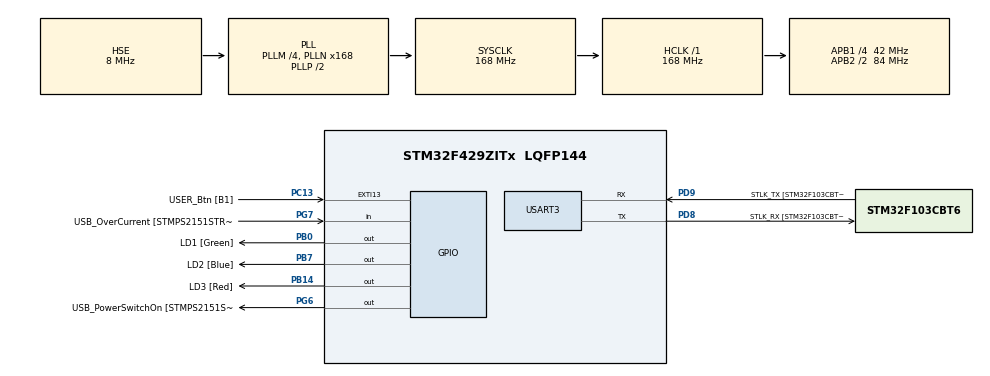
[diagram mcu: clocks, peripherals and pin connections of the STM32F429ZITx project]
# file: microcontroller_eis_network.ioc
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ARM.CMSIS.5.7.0.CMSISJjCORE=true
ARM.CMSIS.5.7.0.CMSISJjDSP=Library
Mcu.Family=STM32F4
Mcu.Name=STM32F429ZITx
Mcu.Package=LQFP144
NVIC.PriorityGroup=NVIC_PRIORITYGROUP_4
PA13.GPIO_Label=TMS
PA13.Mode=Serial_Wire
PA13.Signal=SYS_JTMS-SWDIO
PA14.GPIO_Label=TCK
PA14.Mode=Serial_Wire
PA14.Signal=SYS_JTCK-SWCLK
PB0.GPIO_Label=LD1 [Green]
PB0.Signal=GPIO_Output
PB14.GPIO_Label=LD3 [Red]
PB14.Signal=GPIO_Output
PB7.GPIO_Label=LD2 [Blue]
PB7.Signal=GPIO_Output
PC13.GPIO_Label=USER_Btn [B1]
PC13.Signal=GPXTI13
PC14/OSC32_IN.Mode=LSE-External-Oscillator
PC14/OSC32_IN.Signal=RCC_OSC32_IN
PC15/OSC32_OUT.Mode=LSE-External-Oscillator
PC15/OSC32_OUT.Signal=RCC_OSC32_OUT
PD8.GPIO_Label=STLK_RX [STM32F103CBT6_PA3]
PD8.Mode=Asynchronous
PD8.Signal=USART3_TX
PD9.GPIO_Label=STLK_TX [STM32F103CBT6_PA2]
PD9.Mode=Asynchronous
PD9.Signal=USART3_RX
PG6.GPIO_Label=USB_PowerSwitchOn [STMPS2151STR_EN]
PG6.Signal=GPIO_Output
PG7.GPIO_Label=USB_OverCurrent [STMPS2151STR_FAULT]
PG7.Signal=GPIO_Input
PH0/OSC_IN.GPIO_Label=MCO [STM32F103CBT6_PA8]
PH0/OSC_IN.Mode=HSE-External-Clock-Source
PH0/OSC_IN.Signal=RCC_OSC_IN
PH1/OSC_OUT.Mode=HSE-External-Clock-Source
PH1/OSC_OUT.Signal=RCC_OSC_OUT
ProjectManager.HeapSize=0x800
ProjectManager.StackSize=0x800
ProjectManager.TargetToolchain=STM32CubeIDE
RCC.48MHZClocksFreq_Value=48000000
RCC.AHBFreq_Value=168000000
RCC.APB1CLKDivider=RCC_HCLK_DIV4
RCC.APB1Freq_Value=42000000
RCC.APB1TimFreq_Value=84000000
RCC.APB2CLKDivider=RCC_HCLK_DIV2
RCC.APB2Freq_Value=84000000
RCC.APB2TimCLKDivider=2
RCC.APB2TimFreq_Value=168000000
RCC.CortexFreq_Value=168000000
RCC.HCLKFreq_Value=168000000
RCC.HSE_VALUE=8000000
RCC.HSI_VALUE=16000000
RCC.PLLM=4
RCC.PLLMUL=RCC_PLL_MUL9
RCC.PLLN=168
RCC.PLLQ=7
RCC.PLLSourceVirtual=RCC_PLLSOURCE_HSE
RCC.PRESCALERUSB=RCC_USBCLKSOURCE_PLL_DIV1_5
RCC.SYSCLKFreq_VALUE=168000000
RCC.SYSCLKSource=RCC_SYSCLKSOURCE_PLLCLK
RCC.SYSCLKSourceVirtual=RCC_SYSCLKSOURCE_PLLCLK
RCC.USBFreq_Value=48000000
RCC.VCOOutputFreq_Value=336000000
STMicroelectronics.X-CUBE-AI.9.1.0.ActivationBufferSizeList=828
STMicroelectronics.X-CUBE-AI.9.1.0.ActivationBuffers=pool0
STMicroelectronics.X-CUBE-AI.9.1.0.ActivationNames=pool0
STMicroelectronics.X-CUBE-AI.9.1.0.ActivationSizes=AI_EIS_NETWORK_DATA_ACTIVATION_1_SIZE
STMicroelectronics.X-CUBE-AI.9.1.0.HeapSize=0x800
STMicroelectronics.X-CUBE-AI.9.1.0.InternalRamActivationBufferMaxSize=AI_EIS_NETWORK_DATA_ACTIVATIONS_SIZE
STMicroelectronics.X-CUBE-AI.9.1.0.LatestDirectoryUsed-512c36edfd40d9900958168d216ff8be3b197be218ea1a5f6a13ae413ad8ec18=C\:\\Data\\Git\\eis_data_analytics_dev_release\\microcontroller_eis_network\\onnx_export
STMicroelectronics.X-CUBE-AI.9.1.0.MaximumNumberOfInputLayer=1
STMicroelectronics.X-CUBE-AI.9.1.0.MaximumNumberOfOutputLayer=1
STMicroelectronics.X-CUBE-AI.9.1.0.MaximumSizeOfInputLayer=1
STMicroelectronics.X-CUBE-AI.9.1.0.MaximumSizeOfOutputLayer=1
STMicroelectronics.X-CUBE-AI.9.1.0.ModelActualCompression-512c36edfd40d9900958168d216ff8be3b197be218ea1a5f6a13ae413ad8ec18=0.0
STMicroelectronics.X-CUBE-AI.9.1.0.ModelCompression-512c36edfd40d9900958168d216ff8be3b197be218ea1a5f6a13ae413ad8ec18=None
STMicroelectronics.X-CUBE-AI.9.1.0.ModelFlashOccupation-512c36edfd40d9900958168d216ff8be3b197be218ea1a5f6a13ae413ad8ec18=7094
STMicroelectronics.X-CUBE-AI.9.1.0.ModelHashList=512c36edfd40d9900958168d216ff8be3b197be218ea1a5f6a13ae413ad8ec18
STMicroelectronics.X-CUBE-AI.9.1.0.ModelKind-512c36edfd40d9900958168d216ff8be3b197be218ea1a5f6a13ae413ad8ec18=ONNX
STMicroelectronics.X-CUBE-AI.9.1.0.ModelMacc-512c36edfd40d9900958168d216ff8be3b197be218ea1a5f6a13ae413ad8ec18=2
STMicroelectronics.X-CUBE-AI.9.1.0.ModelName-512c36edfd40d9900958168d216ff8be3b197be218ea1a5f6a13ae413ad8ec18=eis_network
STMicroelectronics.X-CUBE-AI.9.1.0.ModelNameList=eis_network
STMicroelectronics.X-CUBE-AI.9.1.0.ModelRamOccupation-512c36edfd40d9900958168d216ff8be3b197be218ea1a5f6a13ae413ad8ec18=828
STMicroelectronics.X-CUBE-AI.9.1.0.ModelStructureFile-512c36edfd40d9900958168d216ff8be3b197be218ea1a5f6a13ae413ad8ec18=onnx_export/example_data_SISO_Linear_Z_abs_100hz_Temperature_940757438541927485_33edb75dde754d34aa05820499c475de.onnx
STMicroelectronics.X-CUBE-AI.9.1.0.ModelType-512c36edfd40d9900958168d216ff8be3b197be218ea1a5f6a13ae413ad8ec18=STM32Cube.AI MCU runtime
STMicroelectronics.X-CUBE-AI.9.1.0.ReadyForCodeGeneration=true
STMicroelectronics.X-CUBE-AI.9.1.0.StackSize=0x800
STMicroelectronics.X-CUBE-AI.9.1.0.WorkingBufferStartAddrList=0xFFFFFFFF
STMicroelectronics.X-CUBE-AI.9.1.0.XAaCUBEAaAICcArtificialOoIntelligenceJjCore=true
STMicroelectronics.X-CUBE-AI.9.1.0.copyWeightToRam=false
STMicroelectronics.X-CUBE-AI.9.1.0.copyWeightToRam-512c36edfd40d9900958168d216ff8be3b197be218ea1a5f6a13ae413ad8ec18=false
STMicroelectronics.X-CUBE-AI.9.1.0.customLayerConfigEnabled=false
STMicroelectronics.X-CUBE-AI.9.1.0.customLayerConfigEnabled-512c36edfd40d9900958168d216ff8be3b197be218ea1a5f6a13ae413ad8ec18=false
STMicroelectronics.X-CUBE-AI.9.1.0.noOnnxIoTranspose=false
STMicroelectronics.X-CUBE-AI.9.1.0.noOnnxIoTranspose-512c36edfd40d9900958168d216ff8be3b197be218ea1a5f6a13ae413ad8ec18=false
STMicroelectronics.X-CUBE-AI.9.1.0.useInputAllocation=true
STMicroelectronics.X-CUBE-AI.9.1.0.useInputAllocation-512c36edfd40d9900958168d216ff8be3b197be218ea1a5f6a13ae413ad8ec18=true
STMicroelectronics.X-CUBE-AI.9.1.0.useOutputAllocation=true
STMicroelectronics.X-CUBE-AI.9.1.0.useOutputAllocation-512c36edfd40d9900958168d216ff8be3b197be218ea1a5f6a13ae413ad8ec18=true
TIM14.Prescaler=84
USART3.VirtualMode=VM_ASYNC
VP_ARM.CMSIS_VS_CMSISJjCORE_5.4.0_5.7.0.Mode=CMSISJjCORE
VP_ARM.CMSIS_VS_CMSISJjDSP_1.8.0_5.7.0.Mode=CMSISJjDSP
VP_STMicroelectronics.X-CUBE-AI_VS_ArtificialOoIntelligenceJjXAaCUBEAaAI_9.1.0.Mode=ArtificialOoIntelligenceJjXAaCUBEAaAI
VP_TIM14_VS_ClockSourceINT.Mode=Enable_Timer
board=NUCLEO-F429ZI

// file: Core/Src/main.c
/* USER CODE BEGIN Header */
/**
 ******************************************************************************
 * @file           : main.c
 * @brief          : Main program body
 ******************************************************************************
 * @attention
 *
 * Copyright (c) 2024 STMicroelectronics.
 * All rights reserved.
 *
 * This software is licensed under terms that can be found in the LICENSE file
 * in the root directory of this software component.
 * If no LICENSE file comes with this software, it is provided AS-IS.
 *
 ******************************************************************************
 */
/* USER CODE END Header */
#include "main.h"
#include "tim.h"
#include "usart.h"
#include "gpio.h"

/* USER CODE BEGIN Includes */
__attribute__((weak)) void _close(void) {
}
__attribute__((weak)) void _lseek(void) {
}
__attribute__((weak)) void _read(void) {
}
__attribute__((weak)) void _write(void) {
}
__attribute__((weak)) void _fstat(void) {
}
__attribute__((weak)) void _getpid(void) {
}
__attribute__((weak)) void _isatty(void) {
}
__attribute__((weak)) void _kill(void) {
}

#include "stdbool.h"
#include "stdio.h"
#include "stdlib.h"
#include "string.h"
#include "math.h"
#include "arm_math.h"

#include "test_arrays.h"
#include "ai_datatypes_defines.h"
#include "eis_network.h"
#include "eis_network_data_params.h"
/* USER CODE END Includes */

/* USER CODE BEGIN PV */
ai_handle eis_network;

float model_in_data[AI_EIS_NETWORK_IN_1_SIZE];
float model_out_data[AI_EIS_NETWORK_OUT_1_SIZE];

ai_u8 activations[AI_EIS_NETWORK_DATA_ACTIVATIONS_SIZE];

ai_buffer *ai_input;
ai_buffer *ai_output;
/* USER CODE END PV */

void SystemClock_Config(void);
/* USER CODE BEGIN PFP */
static void AI_Init(void);
static void AI_Run(float *pIn, float *pOut);

static void arm_arrhenius_correction(float *data, int block_size);
static void arm_arrhenius_correction_with_factor(float *data, int block_size,
		float arrhenius_b, float arrhenius_c);

static void arm_compute_power(float *data, float *result, int max_exponent,
		int block_size);

static void arm_min_max_scaler(float *data, int block_size, float min,
		float max);
static void arm_inverse_min_max_scaler(float *data, int block_size, float min,
		float max);

static void arm_standard_scaler(float *data, int block_size, float mean,
		float std);
static void arm_inverse_standard_scaler(float *data, int block_size, float mean,
		float std);

static float compute_max(float *array, int length, int width);
static float compute_mean(float *array, int length, int width);
static float compute_std(float *array, int length, int width);
static float compute_rms(float *array, int length, int width);
/* USER CODE END PFP */

int main(void)
{

  /* USER CODE BEGIN 1 */
	// UART Buffer
	char buf[256];
	int buf_len = 0;
	// Execution Time stamps
	uint16_t timestamp_before_input, timestamp_model_start,
			timestamp_model_finished, timestamp_output;

  /* USER CODE END 1 */

  /* MCU Configuration--------------------------------------------------------*/

  /* Reset of all peripherals, Initializes the Flash interface and the Systick. */
  HAL_Init();

  /* Configure the system clock */
  SystemClock_Config();

  /* Initialize all configured peripherals */
  MX_GPIO_Init();
  MX_TIM14_Init();
  MX_USART3_UART_Init();
  /* USER CODE BEGIN 2 */
	// Start Timer/counter
	HAL_TIM_Base_Start(&htim14);

	// Start the Program
	buf_len = sprintf(buf, "\r\n\r\nEIS AI Evaluation\r\n");
	HAL_UART_Transmit(&huart3, (uint8_t*) buf, buf_len, 100);

	AI_Init();

	// Get the Size of the Input and Output Data
	int test_input_length = (int) (sizeof(test_input) / sizeof(test_input[0]));
	int test_input_width = (int) (sizeof(test_input[0])
			/ sizeof(test_input[0][0]));

	int test_output_length =
			(int) (sizeof(test_output) / sizeof(test_output[0]));
	int test_output_width = (int) (sizeof(test_output[0])
			/ sizeof(test_output[0][0]));

	// Create Buffer for Input (will be modified), Results and Differences
	float test_input_tmp[test_input_length][test_input_width];
	float test_input_tmp_poly[test_input_length][AI_EIS_NETWORK_IN_1_SIZE];
	float test_output_predicted[test_output_length][test_output_width];
	float diff[test_output_length][test_output_width];

	HAL_GPIO_WritePin(GPIOB, LD1_Pin | LD3_Pin | LD2_Pin, GPIO_PIN_SET);
	HAL_Delay(1000);
	// Startup finished
  /* USER CODE END 2 */

  /* Infinite loop */
  /* USER CODE BEGIN WHILE */
	while (1) {
		// Prepare/Reset data
		memcpy(test_input_tmp, test_input, sizeof(test_input));
		HAL_GPIO_WritePin(GPIOB, LD1_Pin | LD3_Pin | LD2_Pin, GPIO_PIN_RESET);

		// Evaluate all Input values individually
		for (int i = 0; i < test_input_length; i++) {
			timestamp_before_input = (uint16_t) htim14.Instance->CNT;
			// First Scale the Data
			if (use_arrhenius_correction) {
				arm_arrhenius_correction(&test_input_tmp[i][0],
						test_input_width);
			} else if (use_arrhenius_correction_with_factor) {
				arm_arrhenius_correction_with_factor(&test_input_tmp[i][0],
						test_input_width, arrhenius_b, arrhenius_c);
			}

			arm_compute_power(&test_input_tmp[i][0], &test_input_tmp_poly[i][0],
					polynomial_degree, test_input_width);

			if (use_min_max_scaler) {
				arm_min_max_scaler(&test_input_tmp_poly[i][0],
				AI_EIS_NETWORK_IN_1_SIZE, min_max_scaler_x_min,
						min_max_scaler_x_max);
			} else if (use_standard_scaler) {
				arm_standard_scaler(&test_input_tmp_poly[i][0],
				AI_EIS_NETWORK_IN_1_SIZE, standard_scaler_x_mean,
						standard_scaler_x_std);
			}

			memcpy(model_in_data, &test_input_tmp_poly[i],
					sizeof(test_input[0][0]) * AI_EIS_NETWORK_IN_1_SIZE);

			// Run the model
			timestamp_model_start = (uint16_t) htim14.Instance->CNT;
			AI_Run(model_in_data, model_out_data);
			timestamp_model_finished = (uint16_t) htim14.Instance->CNT;

			memcpy(&test_output_predicted[i], model_out_data,
					sizeof(test_output[0]));

			// Scale output, if it is scaled
			if (scale_y_data) {
				if (use_min_max_scaler) {
					arm_inverse_min_max_scaler(&test_output_predicted[i][0],
					AI_EIS_NETWORK_OUT_1_SIZE, min_max_scaler_y_min,
							min_max_scaler_y_max);
				} else if (use_standard_scaler) {
					arm_inverse_standard_scaler(&test_output_predicted[i][0],
					AI_EIS_NETWORK_OUT_1_SIZE, standard_scaler_y_mean,
							standard_scaler_y_std);
				}
			}

			timestamp_output = (uint16_t) htim14.Instance->CNT;

			// Send Results
			arm_sub_f32(&test_output_predicted[i][0], &test_output[i][0],
					&diff[i][0], test_output_width);
			buf_len = sprintf(buf, "Real Value: ");
			HAL_UART_Transmit(&huart3, (uint8_t*) buf, buf_len, 100);
			for (int output_width_index = 0;
					output_width_index < test_output_width;
					output_width_index++) {
				buf_len = sprintf(buf, "%f ",
						test_output[i][output_width_index]);
				HAL_UART_Transmit(&huart3, (uint8_t*) buf, buf_len, 100);
			}
			buf_len = sprintf(buf, "\t| Estimated Value: ");
			HAL_UART_Transmit(&huart3, (uint8_t*) buf, buf_len, 100);
			for (int output_width_index = 0;
					output_width_index < test_output_width;
					output_width_index++) {
				buf_len = sprintf(buf, "%f ",
						test_output_predicted[i][output_width_index]);
				HAL_UART_Transmit(&huart3, (uint8_t*) buf, buf_len, 100);
			}
			buf_len = sprintf(buf, "\t| Diff: ");
			HAL_UART_Transmit(&huart3, (uint8_t*) buf, buf_len, 100);
			for (int output_width_index = 0;
					output_width_index < test_output_width;
					output_width_index++) {
				buf_len = sprintf(buf, "%f ", diff[i][output_width_index]);
				HAL_UART_Transmit(&huart3, (uint8_t*) buf, buf_len, 100);
			}
			buf_len =
					sprintf(buf,
							"\t| Total Duration: %u us\t| Model Duration %u us\r\n",
							(uint16_t) (timestamp_output
									- timestamp_before_input),
							(uint16_t) (timestamp_model_finished
									- timestamp_model_start));
			HAL_UART_Transmit(&huart3, (uint8_t*) buf, buf_len, 100);
			HAL_GPIO_TogglePin(GPIOB, LD1_Pin);
		}

		// Evaluate the Error and start again after a short delay
		float mean_value = compute_mean(&diff[0][0], test_output_length,
				test_output_width);
		float std_value = compute_std(&diff[0][0], test_output_length,
				test_output_width);
		float rms_value = compute_rms(&diff[0][0], test_output_length,
				test_output_width);
		float max_value = compute_max(&diff[0][0], test_output_length,
				test_output_width);
		buf_len =
				sprintf(buf,
						"Maximum Difference:\t %f \r\nMean Difference:\t %f \r\nStd. Difference:\t %f \r\nRMS  Difference:\t %f \r\n",
						max_value, mean_value, std_value, rms_value);
		HAL_UART_Transmit(&huart3, (uint8_t*) buf, buf_len, 100);
		HAL_GPIO_WritePin(GPIOB, LD1_Pin | LD2_Pin, GPIO_PIN_SET);
		HAL_Delay(4000);
    /* USER CODE END WHILE */

	}
}

void SystemClock_Config(void)
{
  RCC_OscInitTypeDef RCC_OscInitStruct = {0};
  RCC_ClkInitTypeDef RCC_ClkInitStruct = {0};

  /** Configure the main internal regulator output voltage
  */
  __HAL_RCC_PWR_CLK_ENABLE();
  __HAL_PWR_VOLTAGESCALING_CONFIG(PWR_REGULATOR_VOLTAGE_SCALE1);

  /** Initializes the RCC Oscillators according to the specified parameters
  * in the RCC_OscInitTypeDef structure.
  */
  RCC_OscInitStruct.OscillatorType = RCC_OSCILLATORTYPE_HSE;
  RCC_OscInitStruct.HSEState = RCC_HSE_BYPASS;
  RCC_OscInitStruct.PLL.PLLState = RCC_PLL_ON;
  RCC_OscInitStruct.PLL.PLLSource = RCC_PLLSOURCE_HSE;
  RCC_OscInitStruct.PLL.PLLM = 4;
  RCC_OscInitStruct.PLL.PLLN = 168;
  RCC_OscInitStruct.PLL.PLLP = RCC_PLLP_DIV2;
  RCC_OscInitStruct.PLL.PLLQ = 7;
  if (HAL_RCC_OscConfig(&RCC_OscInitStruct) != HAL_OK)
  {
    Error_Handler();
  }

  /** Initializes the CPU, AHB and APB buses clocks
  */
  RCC_ClkInitStruct.ClockType = RCC_CLOCKTYPE_HCLK|RCC_CLOCKTYPE_SYSCLK
                              |RCC_CLOCKTYPE_PCLK1|RCC_CLOCKTYPE_PCLK2;
  RCC_ClkInitStruct.SYSCLKSource = RCC_SYSCLKSOURCE_PLLCLK;
  RCC_ClkInitStruct.AHBCLKDivider = RCC_SYSCLK_DIV1;
  RCC_ClkInitStruct.APB1CLKDivider = RCC_HCLK_DIV4;
  RCC_ClkInitStruct.APB2CLKDivider = RCC_HCLK_DIV2;

  if (HAL_RCC_ClockConfig(&RCC_ClkInitStruct, FLASH_LATENCY_5) != HAL_OK)
  {
    Error_Handler();
  }
}

/* USER CODE BEGIN 4 */
static void AI_Init(void) {
	ai_error err;
	const ai_handle act_addr[] = { activations };
	err = ai_eis_network_create_and_init(&eis_network, act_addr, NULL);
	if (err.type != AI_ERROR_NONE) {
		printf("ai_network_create error - type=%d code=%d\r\n", err.type,
				err.code);
		Error_Handler();
	}
	ai_input = ai_eis_network_inputs_get(eis_network, NULL);
	ai_output = ai_eis_network_outputs_get(eis_network, NULL);
}

static void AI_Run(float *pIn, float *pOut) {
	ai_i32 batch;
	ai_error err;
	ai_input[0].data = AI_HANDLE_PTR(pIn);
	ai_output[0].data = AI_HANDLE_PTR(pOut);
	batch = ai_eis_network_run(eis_network, ai_input, ai_output);
	if (batch != 1) {
		err = ai_eis_network_get_error(eis_network);
		printf("AI ai_network_run error - type=%d code=%d\r\n", err.type,
				err.code);
		Error_Handler();
	}
}

static void arm_arrhenius_correction(float *data, int block_size) {
	arm_vlog_f32(data, data, block_size);
	arm_negate_f32(data, data, block_size);
}

static void arm_arrhenius_correction_with_factor(float *data, int block_size,
		float arrhenius_b, float arrhenius_c) {
	arm_scale_f32(data, arrhenius_c, data, block_size);
	arm_vlog_f32(data, data, block_size);
	arm_scale_f32(data, arrhenius_b, data, block_size);
}

static void arm_compute_power(float *data, float *result, int max_exponent,
		int block_size) {
	memcpy(&result[0], data, block_size * sizeof(result[0]));
	for (int exponent = 1; exponent < max_exponent; exponent++) {
		arm_vlog_f32(data, &result[exponent], block_size);
		arm_scale_f32(&result[exponent], exponent + 1.0, &result[exponent],
				block_size);
		arm_vexp_f32(&result[exponent], &result[exponent], block_size);

	}
}

static void arm_min_max_scaler(float *data, int block_size, float min,
		float max) {
	arm_offset_f32(data, -min, data, block_size);
	arm_scale_f32(data, 1.0 / (max - min), data, block_size);
}

static void arm_inverse_min_max_scaler(float *data, int block_size, float min,
		float max) {
	arm_scale_f32(data, (max - min), data, block_size);
	arm_offset_f32(data, min, data, block_size);

}

static void arm_standard_scaler(float *data, int block_size, float mean,
		float std) {
	arm_offset_f32(data, -mean, data, block_size);
	arm_scale_f32(data, 1.0 / (std), data, block_size);
}

static void arm_inverse_standard_scaler(float *data, int block_size, float mean,
		float std) {
	arm_scale_f32(data, std, data, block_size);
	arm_offset_f32(data, mean, data, block_size);
}

static float compute_max(float *array, int length, int width) {
	float max = 0.0;
	uint32_t max_idx = 0;
	arm_abs_f32(array, array, length * width);
	arm_max_f32(array, length * width, &max, &max_idx);
	return max;
}

static float compute_mean(float *array, int length, int width) {
	float mean = 0.0;
	arm_mean_f32(array, length * width, &mean);
	return mean;
}

static float compute_std(float *array, int length, int width) {
	float std = 0.0;
	arm_std_f32(array, length * width, &std);
	return std;
}

static float compute_rms(float *array, int length, int width) {
	float rms = 0.0;
	arm_rms_f32(array, length * width, &rms);
	return rms;
}
/* USER CODE END 4 */

void Error_Handler(void)
{
	__disable_irq();
	while (1) {
	}
}
